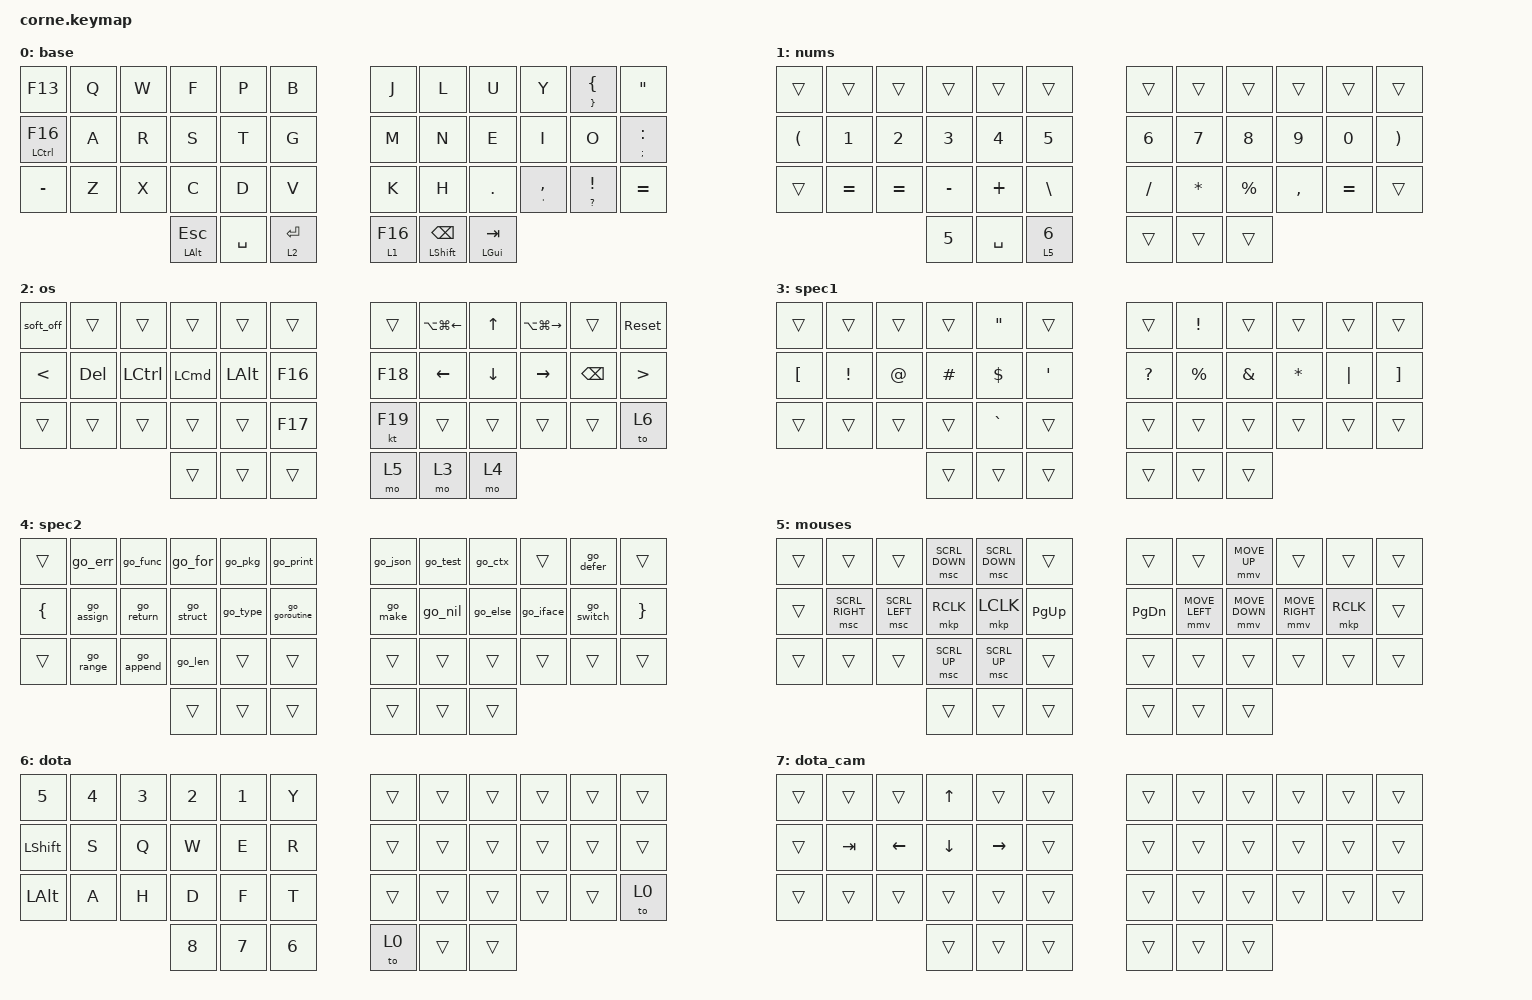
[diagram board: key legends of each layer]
/*
 * Copyright (c) 2020 The ZMK Contributors
 *
 * SPDX-License-Identifier: MIT
 */

#define ZMK_POINTING_DEFAULT_MOVE_VAL 1500  // default: 600

#include <behaviors.dtsi>
#include <dt-bindings/zmk/keys.h>
#include <dt-bindings/zmk/pointing.h>
#include <dt-bindings/zmk/rgb.h>

#define AS(keycode) &as LS(keycode) keycode

/ {
    chosen { zmk,physical-layout = &foostan_corne_6col_layout; };

    behaviors {
        as: auto_shift {
            compatible = "zmk,behavior-hold-tap";
            #binding-cells = <2>;
            tapping_term_ms = <200>;
            quick_tap_ms = <0>;
            flavor = "tap-preferred";
            bindings = <&kp>, <&kp>;
        };

        hml: homewrow_mods_left {
            compatible = "zmk,behavior-hold-tap";
            #binding-cells = <2>;
            label = "HOMEROW_MODS_LEFT_HAND";
            bindings = <&kp>, <&kp>;

            tapping-term-ms = <300>;
            hold-trigger-key-positions = <6 7 8 9 10 11 18 19 20 21 22 23 30 31 32 33 34 35 39 40 41>;
        };

        hmr: homewrow_mods_right {
            compatible = "zmk,behavior-hold-tap";
            #binding-cells = <2>;
            label = "HOMEROW_MODS_RIGHT_HAND";
            bindings = <&kp>, <&kp>;

            tapping-term-ms = <200>;
            hold-trigger-key-positions = <0 1 2 3 4 5 12 13 14 15 16 17 24 25 26 27 28 29 36 37 38>;
        };

        capdance: capdance {
            compatible = "zmk,behavior-tap-dance";
            label = "CAPDANCE";
            #binding-cells = <0>;
            bindings = <&caps_word>, <&kp CAPS>;
        };

        volknob: volume_encoder {
            compatible = "zmk,behavior-sensor-rotate";
            label = "ENCODER_VOLUME_KNOB";
            #sensor-binding-cells = <0>;
            bindings = <&kp C_VOL_UP>, <&kp C_VOL_DN>;
        };

        rgbknob: rgb_encoder {
            compatible = "zmk,behavior-sensor-rotate-var";
            label = "ENCODER_RGB";
            #sensor-binding-cells = <2>;
            bindings = <&rgb_ug>, <&rgb_ug>;
        };
    };

    macros {
        switch_to_ru: switch_to_ru {
            compatible = "zmk,behavior-macro";
            #binding-cells = <0>;
            bindings = <&kp LG(LS(MINUS)) &to 0>;
            label = "SWITCH_TO_RU";
        };

        switch_to_en: switch_to_en {
            compatible = "zmk,behavior-macro";
            #binding-cells = <0>;
            bindings = <&kp LG(LS(MINUS)) &to 0>;
            label = "SWITCH_TO_EN";
        };

        select_complite: ce {
            compatible = "zmk,behavior-macro";
            #binding-cells = <0>;
            bindings = <&kp TAB &kp ENTER>;
            label = "CE";
        };

        google_meet_mute: google_meet_mute {
            compatible = "zmk,behavior-macro";
            #binding-cells = <0>;
            bindings = <&kp LG(D) &kp LG(E)>;
            label = "GOOGLE_MEET_MUTE";
        };

        // Go programming macros

        go_err: go_err {
            compatible = "zmk,behavior-macro";
            #binding-cells = <0>;
            bindings = <&kp I &kp F &kp SPACE &kp E &kp R &kp R &kp SPACE &kp EXCL &kp EQUAL &kp SPACE &kp N &kp I &kp L &kp SPACE &kp LBRC &kp ENTER &kp TAB &kp R &kp E &kp T &kp U &kp R &kp N &kp SPACE &kp E &kp R &kp R &kp ENTER &kp RBRC>;
            label = "GO_ERR";
        };

        go_func: go_func {
            compatible = "zmk,behavior-macro";
            #binding-cells = <0>;
            bindings = <&kp F &kp U &kp N &kp C &kp SPACE>;
            label = "GO_FUNC";
        };

        go_for: go_for {
            compatible = "zmk,behavior-macro";
            #binding-cells = <0>;
            bindings = <&kp F &kp O &kp R &kp SPACE &kp UNDERSCORE &kp COMMA &kp SPACE>;
            label = "GO_FOR";
        };

        go_pkg: go_pkg {
            compatible = "zmk,behavior-macro";
            #binding-cells = <0>;
            bindings = <&kp P &kp A &kp C &kp K &kp A &kp G &kp E &kp SPACE &kp M &kp A &kp I &kp N &kp ENTER &kp ENTER>;
            label = "GO_PKG";
        };

        go_print: go_print {
            compatible = "zmk,behavior-macro";
            #binding-cells = <0>;
            bindings = <&kp F &kp M &kp T &kp DOT &kp LS(P) &kp R &kp I &kp N &kp T &kp L &kp N &kp LPAR &kp DQT &kp DQT &kp COMMA &kp SPACE>;
            label = "GO_PRINT";
        };

        go_json: go_json {
            compatible = "zmk,behavior-macro";
            #binding-cells = <0>;
            bindings = <&kp SPACE &kp GRAVE &kp J &kp S &kp O &kp N &kp COLON &kp DQT &kp DQT &kp GRAVE>;
            label = "GO_JSON";
        };

        go_test: go_test {
            compatible = "zmk,behavior-macro";
            #binding-cells = <0>;
            bindings = <&kp F &kp U &kp N &kp C &kp SPACE &kp LS(T) &kp E &kp S &kp T>;
            label = "GO_TEST";
        };

        go_ctx: go_ctx {
            compatible = "zmk,behavior-macro";
            #binding-cells = <0>;
            bindings = <&kp C &kp T &kp X &kp SPACE &kp C &kp O &kp N &kp T &kp E &kp X &kp T &kp DOT &kp LS(C) &kp O &kp N &kp T &kp E &kp X &kp T>;
            label = "GO_CTX";
        };

        go_defer: go_defer {
            compatible = "zmk,behavior-macro";
            #binding-cells = <0>;
            bindings = <&kp D &kp E &kp F &kp E &kp R &kp SPACE>;
            label = "GO_DEFER";
        };

        go_assign: go_assign {
            compatible = "zmk,behavior-macro";
            #binding-cells = <0>;
            bindings = <&kp COLON &kp EQUAL &kp SPACE>;
            label = "GO_ASSIGN";
        };

        go_return: go_return {
            compatible = "zmk,behavior-macro";
            #binding-cells = <0>;
            bindings = <&kp R &kp E &kp T &kp U &kp R &kp N &kp SPACE>;
            label = "GO_RETURN";
        };

        go_struct: go_struct {
            compatible = "zmk,behavior-macro";
            #binding-cells = <0>;
            bindings = <&kp S &kp T &kp R &kp U &kp C &kp T &kp SPACE &kp LBRC &kp ENTER &kp TAB>;
            label = "GO_STRUCT";
        };

        go_type: go_type {
            compatible = "zmk,behavior-macro";
            #binding-cells = <0>;
            bindings = <&kp T &kp Y &kp P &kp E &kp SPACE>;
            label = "GO_TYPE";
        };

        go_goroutine: go_goroutine {
            compatible = "zmk,behavior-macro";
            #binding-cells = <0>;
            bindings = <&kp G &kp O &kp SPACE &kp F &kp U &kp N &kp C &kp LPAR &kp RPAR &kp SPACE &kp LBRC &kp ENTER &kp TAB>;
            label = "GO_GOROUTINE";
        };

        go_make: go_make {
            compatible = "zmk,behavior-macro";
            #binding-cells = <0>;
            bindings = <&kp M &kp A &kp K &kp E &kp LPAR &kp LBKT &kp RBKT>;
            label = "GO_MAKE";
        };

        go_nil: go_nil {
            compatible = "zmk,behavior-macro";
            #binding-cells = <0>;
            bindings = <&kp SPACE &kp EXCL &kp EQUAL &kp SPACE &kp N &kp I &kp L>;
            label = "GO_NIL";
        };

        go_else: go_else {
            compatible = "zmk,behavior-macro";
            #binding-cells = <0>;
            bindings = <&kp SPACE &kp E &kp L &kp S &kp E &kp SPACE &kp LBRC &kp ENTER &kp TAB>;
            label = "GO_ELSE";
        };

        go_iface: go_iface {
            compatible = "zmk,behavior-macro";
            #binding-cells = <0>;
            bindings = <&kp I &kp N &kp T &kp E &kp R &kp F &kp A &kp C &kp E &kp LBRC &kp RBRC>;
            label = "GO_IFACE";
        };

        go_switch: go_switch {
            compatible = "zmk,behavior-macro";
            #binding-cells = <0>;
            bindings = <&kp S &kp W &kp I &kp T &kp C &kp H &kp SPACE>;
            label = "GO_SWITCH";
        };

        go_range: go_range {
            compatible = "zmk,behavior-macro";
            #binding-cells = <0>;
            bindings = <&kp R &kp A &kp N &kp G &kp E &kp SPACE>;
            label = "GO_RANGE";
        };

        go_append: go_append {
            compatible = "zmk,behavior-macro";
            #binding-cells = <0>;
            bindings = <&kp A &kp P &kp P &kp E &kp N &kp D &kp LPAR>;
            label = "GO_APPEND";
        };

        go_len: go_len {
            compatible = "zmk,behavior-macro";
            #binding-cells = <0>;
            bindings = <&kp L &kp E &kp N &kp LPAR>;
            label = "GO_LEN";
        };
    };

    combos { compatible = "zmk,combos"; };

    keymap {
        compatible = "zmk,keymap";

        base {
            bindings = <
&kp F13               &kp Q  &kp W  &kp F                &kp P      &kp B          &kp J      &kp L                     &kp U             &kp Y           &hml RIGHT_BRACE LEFT_BRACE  &kp DOUBLE_QUOTES
&mt LEFT_CONTROL F16  &kp A  &kp R  &kp S                &kp T      &kp G          &kp M      &kp N                     &kp E             &kp I           &kp O                        &hml SEMICOLON COLON
&kp MINUS             &kp Z  &kp X  &kp C                &kp D      &kp V          &kp K      &kp H                     &kp DOT           &hml SQT COMMA  &hml QUESTION EXCLAMATION    &kp EQUAL
                                    &mt LEFT_ALT ESCAPE  &kp SPACE  &lt 2 ENTER    &lt 1 F16  &mt LEFT_SHIFT BACKSPACE  &mt LEFT_GUI TAB
            >;
        };

        nums {
            bindings = <
&trans                &trans     &trans     &trans        &trans     &trans            &trans     &trans        &trans       &trans     &trans     &trans
&kp LEFT_PARENTHESIS  &kp N1     &kp N2     &kp N3        &kp N4     &kp N5            &kp N6     &kp N7        &kp N8       &kp N9     &kp N0     &kp RIGHT_PARENTHESIS
&trans                &kp EQUAL  &kp EQUAL  &kp MINUS     &kp PLUS   &kp BACKSLASH     &kp SLASH  &kp ASTERISK  &kp PERCENT  &kp COMMA  &kp EQUAL  &trans
                                            &kp NUMBER_5  &kp SPACE  &lt 5 NUMBER_6    &trans     &trans        &trans
            >;
        };

        os {
            bindings = <
&soft_off      &trans      &trans            &trans            &trans        &trans     &trans   &kp LA(LG(LEFT_ARROW))  &kp UP    &kp LA(LG(RIGHT))  &trans         &sys_reset
&kp LESS_THAN  &kp DELETE  &kp LEFT_CONTROL  &kp LEFT_COMMAND  &kp LEFT_ALT  &kp F16    &kp F18  &kp LEFT                &kp DOWN  &kp RIGHT          &kp BACKSPACE  &kp GREATER_THAN
&trans         &trans      &trans            &trans            &trans        &kp F17    &kt F19  &trans                  &trans    &trans             &trans         &to 6
                                             &trans            &trans        &trans     &mo 5    &mo 3                   &mo 4
            >;
        };

        spec1 {
            bindings = <
&trans            &trans           &trans       &trans    &kp DOUBLE_QUOTES  &trans     &trans        &kp EXCLAMATION  &trans         &trans        &trans    &trans
&kp LEFT_BRACKET  &kp EXCLAMATION  &kp AT_SIGN  &kp HASH  &kp DOLLAR         &kp SQT    &kp QUESTION  &kp PERCENT      &kp AMPERSAND  &kp ASTERISK  &kp PIPE  &kp RIGHT_BRACKET
&trans            &trans           &trans       &trans    &kp GRAVE          &trans     &trans        &trans           &trans         &trans        &trans    &trans
                                                &trans    &trans             &trans     &trans        &trans           &trans
            >;
        };

        spec2 {
            // Go programming layer - access via layer 4
            // Top row: common patterns (err, func, for, package, print | json, test, context, defer)
            // Home row: core syntax (:=, return, struct, type, goroutine | make, nil check, else, interface, switch)
            // Bottom row: utilities (range, append, len)

            bindings = <
&trans          &go_err     &go_func    &go_for     &go_pkg   &go_print        &go_json  &go_test  &go_ctx   &trans     &go_defer   &trans
&kp LEFT_BRACE  &go_assign  &go_return  &go_struct  &go_type  &go_goroutine    &go_make  &go_nil   &go_else  &go_iface  &go_switch  &kp RIGHT_BRACE
&trans          &go_range   &go_append  &go_len     &trans    &trans           &trans    &trans    &trans    &trans     &trans      &trans
                                        &trans      &trans    &trans           &trans    &trans    &trans
            >;
        };

        mouses {
            bindings = <
&trans  &trans           &trans          &msc SCRL_DOWN  &msc SCRL_DOWN  &trans         &trans         &trans          &mmv MOVE_UP    &trans           &trans     &trans
&trans  &msc SCRL_RIGHT  &msc SCRL_LEFT  &mkp RCLK       &mkp LCLK       &kp PAGE_UP    &kp PAGE_DOWN  &mmv MOVE_LEFT  &mmv MOVE_DOWN  &mmv MOVE_RIGHT  &mkp RCLK  &trans
&trans  &trans           &trans          &msc SCRL_UP    &msc SCRL_UP    &trans         &trans         &trans          &trans          &trans           &trans     &trans
                                         &trans          &trans          &trans         &trans         &trans          &trans
            >;
        };

        dota {
            bindings = <
&kp N5          &kp NUMBER_4  &kp NUMBER_3  &kp NUMBER_2  &kp NUMBER_1  &kp Y           &trans  &trans  &trans  &trans  &trans  &trans
&kp LEFT_SHIFT  &kp S         &kp Q         &kp W         &kp E         &kp R           &trans  &trans  &trans  &trans  &trans  &trans
&kp LEFT_ALT    &kp A         &kp H         &kp D         &kp F         &kp T           &trans  &trans  &trans  &trans  &trans  &to 0
                                            &kp N8        &kp N7        &kp NUMBER_6    &to 0   &trans  &trans
            >;
        };

        dota_cam {
            bindings = <
&trans  &trans   &trans    &kp UP_ARROW  &trans     &trans    &trans  &trans  &trans  &trans  &trans  &trans
&trans  &kp TAB  &kp LEFT  &kp DOWN      &kp RIGHT  &trans    &trans  &trans  &trans  &trans  &trans  &trans
&trans  &trans   &trans    &trans        &trans     &trans    &trans  &trans  &trans  &trans  &trans  &trans
                           &trans        &trans     &trans    &trans  &trans  &trans
            >;
        };
    };
};
